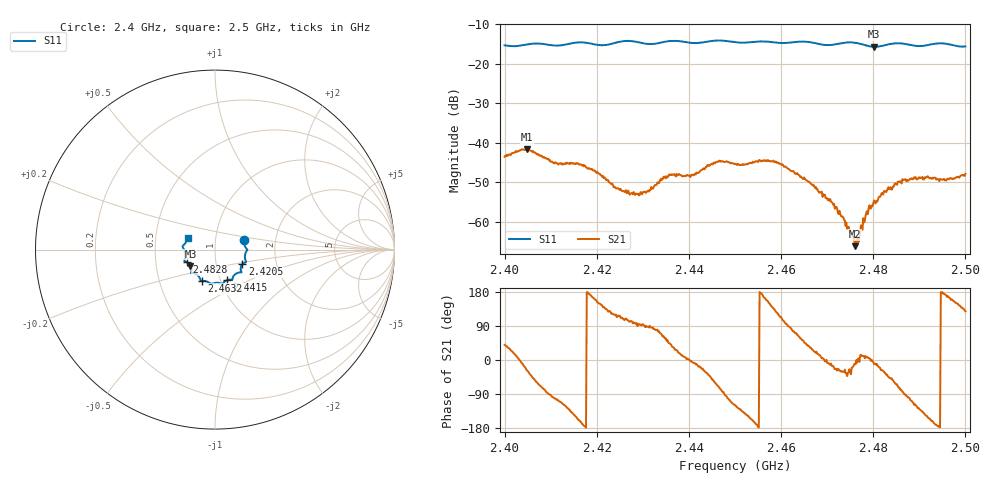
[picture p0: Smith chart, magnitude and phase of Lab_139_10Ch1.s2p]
# Hz S RI R 50
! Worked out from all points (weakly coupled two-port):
!   601 points, 2.4 GHz to 2.5 GHz, reference 50 ohm
!   highest |S21| = -41.60 dB at 2.4048 GHz (marker M1); lowest = -66.1 dB at 2.476 GHz (marker M2)
!   lowest |S11| = -15.7 dB at 2.4802 GHz (marker M3), VSWR 1.39, Z = 37.4 - j6.97 ohm
!   |S11| at or under -10 dB: start of sweep to end of sweep
!   S12 and S22 are empty: the file has one direction only
!   S11 on the Smith chart (normalised r, x): 2.4 GHz: 1.38, +0.15; 2.4205 GHz: 1.34, -0.22; 2.4415 GHz: 1.07, -0.38; 2.4632 GHz: 0.82, -0.29; 2.4828 GHz: 0.72, -0.10; 2.5 GHz: 0.73, +0.10
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2.4e9  0.1633 0.0517  0.00512 0.00428  0 0  0 0
2.404833e9  0.1751 0.00522  0.00742 -0.00377  0 0  0 0
2.411167e9  0.1677 -0.0277  -0.00124 -0.00541  0 0  0 0
2.416667e9  0.1732 -0.0696  -0.00515 -0.00133  0 0  0 0
2.4205e9  0.1519 -0.0815  -0.00351 0.0021  0 0  0 0
2.4275e9  0.1465 -0.1268  -0.000519 0.00226  0 0  0 0
2.433333e9  0.1005 -0.1518  0.000825 0.00301  0 0  0 0
2.436167e9  0.0972 -0.1683  0.00306 0.00258  0 0  0 0
2.4415e9  0.0654 -0.1705  0.00391 -0.000796  0 0  0 0
2.446333e9  0.0412 -0.1929  0.00209 -0.00545  0 0  0 0
2.45e9  0.0244 -0.1861  -0.0026 -0.0047  0 0  0 0
2.457833e9  -0.0304 -0.186  -0.00466 0.00346  0 0  0 0
2.463167e9  -0.073 -0.174  0.00136 0.00386  0 0  0 0
2.466667e9  -0.0818 -0.1672  0.00262 0.00142  0 0  0 0
2.471667e9  -0.1155 -0.1321  0.00134 -0.000607  0 0  0 0
2.476e9  -0.1331 -0.1279  0.000488 -8.19e-05  0 0  0 0
2.4765e9  -0.1325 -0.1256  0.000642 -7.98e-05  0 0  0 0
2.480167e9  -0.1366 -0.0906  0.00184 -0.000346  0 0  0 0
2.482833e9  -0.1587 -0.0703  0.00186 -0.0015  0 0  0 0
2.483333e9  -0.1626 -0.0683  0.00196 -0.00194  0 0  0 0
2.486833e9  -0.1692 -0.0566  -6.47e-05 -0.00345  0 0  0 0
2.5e9  -0.1527 0.0646  -0.00254 0.00318  0 0  0 0
